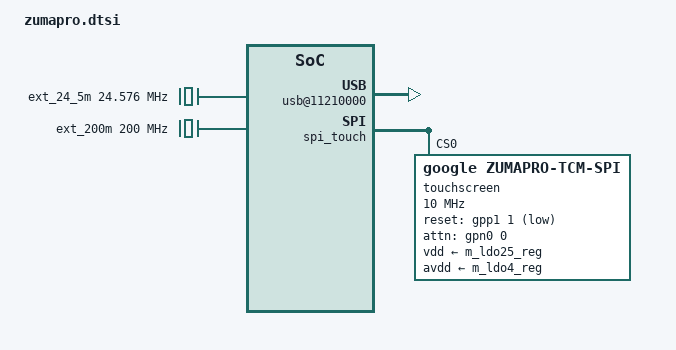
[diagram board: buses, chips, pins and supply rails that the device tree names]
// SPDX-License-Identifier: GPL-2.0-only
/*
 * Google Tensor G4 (zumapro) SoC — minimal mainline description.
 *
 * There is no upstream support for this SoC yet. Everything here was
 * derived from the downstream android-gs-tegu-6.1 base DTB
 * (zumapro-a1-foplp.dtb) and modelled on the upstream gs101.dtsi:
 *   - CPU MPIDRs / capacities, PSCI method
 *   - GIC-v3 and generic timer (24.576 MHz)
 *   - debug UART at 0x10870000 (the "uart0"/serial_0 the bootloader logs on)
 *   - firmware / bootloader carve-outs that must stay no-map
 *
 * Deliberately absent (no mainline driver, or unknown register map):
 * clock controllers, pinctrl, PMIC/ACPM, UFS, USB, DPU/DSIM, WLAN, modem.
 */

#include <dt-bindings/gpio/gpio.h>
#include <dt-bindings/interrupt-controller/arm-gic.h>
#include <dt-bindings/soc/samsung,exynos-usi.h>

/* Same directory, and this SoC's pin controller is gs101's. */
#include "gs101-pinctrl.h"

/ {
	compatible = "google,zumapro";
	#address-cells = <2>;
	#size-cells = <1>;

	interrupt-parent = <&gic>;

	/*
	 * Not decoration. pinctrl-samsung picks which bank table a controller
	 * gets with of_alias_get_id(node, "pinctrl") and nothing else -- not
	 * the compatible, not the reg -- so a controller without an alias
	 * fails probe at "failed to get alias id" and registers no GPIO at
	 * all. That is what left the touch SPI waiting forever on a supplier
	 * called gpn0-gpio-bank. The indices are positions in zuma_pin_ctrl[]:
	 * 1 is CUSTOM_ALIVE and 11 is PERIC0, matching zumapro-mainline.
	 */
	aliases {
		pinctrl1 = &pinctrl_gpio_custom_alive;
		pinctrl11 = &pinctrl_peric0;
	};

	cpus {
		#address-cells = <2>;
		#size-cells = <0>;

		/* One DSU cluster: 4x Cortex-A520, 3x Cortex-A720, 1x Cortex-X4 */
		cpu-map {
			cluster0 {
				core0 {
					cpu = <&cpu0>;
				};

				core1 {
					cpu = <&cpu1>;
				};

				core2 {
					cpu = <&cpu2>;
				};

				core3 {
					cpu = <&cpu3>;
				};

				core4 {
					cpu = <&cpu4>;
				};

				core5 {
					cpu = <&cpu5>;
				};

				core6 {
					cpu = <&cpu6>;
				};

				core7 {
					cpu = <&cpu7>;
				};
			};
		};

		cpu0: cpu@0 {
			device_type = "cpu";
			compatible = "arm,cortex-a520";
			reg = <0x0 0x0000>;
			enable-method = "psci";
			capacity-dmips-mhz = <193>;
		};

		cpu1: cpu@100 {
			device_type = "cpu";
			compatible = "arm,cortex-a520";
			reg = <0x0 0x0100>;
			enable-method = "psci";
			capacity-dmips-mhz = <193>;
		};

		cpu2: cpu@200 {
			device_type = "cpu";
			compatible = "arm,cortex-a520";
			reg = <0x0 0x0200>;
			enable-method = "psci";
			capacity-dmips-mhz = <193>;
		};

		cpu3: cpu@300 {
			device_type = "cpu";
			compatible = "arm,cortex-a520";
			reg = <0x0 0x0300>;
			enable-method = "psci";
			capacity-dmips-mhz = <193>;
		};

		cpu4: cpu@400 {
			device_type = "cpu";
			compatible = "arm,cortex-a720";
			reg = <0x0 0x0400>;
			enable-method = "psci";
			capacity-dmips-mhz = <927>;
		};

		cpu5: cpu@500 {
			device_type = "cpu";
			compatible = "arm,cortex-a720";
			reg = <0x0 0x0500>;
			enable-method = "psci";
			capacity-dmips-mhz = <927>;
		};

		cpu6: cpu@600 {
			device_type = "cpu";
			compatible = "arm,cortex-a720";
			reg = <0x0 0x0600>;
			enable-method = "psci";
			capacity-dmips-mhz = <927>;
		};

		cpu7: cpu@700 {
			device_type = "cpu";
			compatible = "arm,cortex-x4";
			reg = <0x0 0x0700>;
			enable-method = "psci";
			capacity-dmips-mhz = <1024>;
		};
	};

	/* ect node is required to be present by the bootloader (as on gs101) */
	ect {
	};

	ext_24_5m: clock-1 {
		compatible = "fixed-clock";
		#clock-cells = <0>;
		clock-frequency = <24576000>;
		clock-output-names = "oscclk";
	};

	/*
	 * Downstream feeds the debug UART from ext_200m for both its gate and
	 * IP clocks; the bootloader leaves that path running.
	 */
	ext_200m: clock-2 {
		compatible = "fixed-clock";
		#clock-cells = <0>;
		clock-frequency = <200000000>;
		clock-output-names = "ext-200m";
	};

	/*
	 * Stand-in for clocks the (driverless) zumapro clock controller owns.
	 * The bootloader leaves these running and clk_ignore_unused keeps them
	 * that way; drivers only need a plausible rate to derive timings from.
	 * 166.666 MHz is the usual UFS core clock on this Exynos generation.
	 */
	ufs_clk_stub: clock-3 {
		compatible = "fixed-clock";
		#clock-cells = <0>;
		clock-frequency = <166666666>;
		clock-output-names = "ufs-core-stub";
	};

	/*
	 * What CMU_TOP feeds HSI0_PERI with, read off the hardware rather than
	 * assumed:
	 *
	 *   PLL_CON3_PLL_SHARED2 (0x260401cc) = 0xa0820400: enabled, stable,
	 *   M = 130, P = 4, S = 0, so 24576000 * 130 / 4 = 798720000 and the
	 *   D2 tap halves it to 399360000. The round 400 MHz this node used to
	 *   claim was never measured.
	 *   CMU_TOP HSI0_PERI mux (0x26041098) = 1 -> PLL_SHARED2_D2, div = 0.
	 *   CMU_HSI0 PERI_USER (0x11000680) = 0x10 -> that feed, not OSCCLK.
	 *   CMU_HSI0 MUX_CLK_HSI0_USI2 (0x1100101c) = 0 -> PERI_USER.
	 *
	 * It is the parent of the USI2 divider in cmu_hsi0, not the SPI's bit
	 * clock: spi-s3c64xx sets that with clk_set_rate(), because gs101's
	 * port config sets clk_from_cmu and the controller has no prescaler.
	 */
	/*
	 * The APM mailbox's APB clock. Stated, not modelled: there is no
	 * CMU_APM driver in this port, the bootloader leaves the clock running
	 * (ACPM is what it talks to for DVFS and the PMIC), and the mailbox
	 * driver only enables it -- it does no arithmetic with the rate. The
	 * binding makes clocks/clock-names mandatory, so a phandle has to
	 * resolve to something.
	 */
	apm_pclk: clock-6 {
		compatible = "fixed-clock";
		#clock-cells = <0>;
		clock-frequency = <24576000>;
		clock-output-names = "apm-pclk";
	};

	hsi0_peri: clock-5 {
		compatible = "fixed-clock";
		#clock-cells = <0>;
		clock-frequency = <399360000>;
		clock-output-names = "hsi0-peri";
	};

	/*
	 * The APM's SRAM. ACPM's shared-memory mailbox queues live in here;
	 * the protocol driver ioremaps it and finds its channel descriptors at
	 * initdata-base (0xa000) from the start. Address and size are the
	 * second region of the stock tree's acpm_ipc reg property.
	 *
	 * Root here is #address-cells = <2>, #size-cells = <1>.
	 */
	apm_sram: sram@15700000 {
		compatible = "mmio-sram";
		reg = <0x0 0x15700000 0x58000>;
		#address-cells = <1>;
		#size-cells = <1>;
		ranges = <0x0 0x0 0x15700000 0x58000>;
	};

	pmu {
		compatible = "arm,armv8-pmuv3";
		interrupts = <GIC_PPI 7 IRQ_TYPE_LEVEL_HIGH 0>;
	};

	psci {
		compatible = "arm,psci-1.0";
		method = "smc";
	};

	reserved_memory: reserved-memory {
		#address-cells = <2>;
		#size-cells = <1>;
		ranges;

		/* Exynos Clock Table, filled in by the bootloader */
		ect_reserved: ect@90000000 {
			reg = <0x0 0x90000000 0x60000>;
			no-map;
		};

		gsa_reserved_protected: gsa@90200000 {
			reg = <0x0 0x90200000 0x3ff000>;
			no-map;
		};

		gsa_shmem_reserved: gsa-shmem@905ff000 {
			reg = <0x0 0x905ff000 0x1000>;
			no-map;
		};

		gxp_scratchpad_reserved: gxp-scratchpad@91300000 {
			reg = <0x0 0x91300000 0x60000>;
			no-map;
		};

		iif_wait_table_reserved: iif-wait-table@91360000 {
			reg = <0x0 0x91360000 0x20000>;
			no-map;
		};

		iif_signal_table_reserved: iif-signal-table@91380000 {
			reg = <0x0 0x91380000 0x20000>;
			no-map;
		};

		gxp_secure_data_reserved: gxp-secure-data@91400000 {
			reg = <0x0 0x91400000 0x900000>;
			no-map;
		};

		gxp_fw_data_reserved: gxp-fw-data@91d00000 {
			reg = <0x0 0x91d00000 0x300000>;
			no-map;
		};

		gxp_mcu_fw_reserved: gxp-mcu-fw@92000000 {
			reg = <0x0 0x92000000 0x400000>;
			no-map;
		};

		tpu_fw_reserved: tpu-fw@92e00000 {
			reg = <0x0 0x92e00000 0x1200000>;
			no-map;
		};

		aoc_reserve: aoc@94000000 {
			reg = <0x0 0x94000000 0x3000000>;
			no-map;
		};

		xhci_dma_reserved: xhci-dma@97000000 {
			reg = <0x0 0x97000000 0x400000>;
			no-map;
		};

		seclog_reserved: seclog@c3000000 {
			reg = <0x0 0xc3000000 0x80000>;
			no-map;
		};

		/* Debug-core log carve-outs (written by firmware) */
		log_header_reserved: log-header@d8100000 {
			reg = <0x0 0xd8100000 0x10000>;
			no-map;
		};

		log_kevents_reserved: log-kevents@d8110000 {
			reg = <0x0 0xd8110000 0x700000>;
			no-map;
		};

		log_s2d_reserved: log-s2d@d8810000 {
			reg = <0x0 0xd8810000 0x1800000>;
			no-map;
		};

		log_array_reset_reserved: log-array-reset@da010000 {
			reg = <0x0 0xda010000 0xa00000>;
			no-map;
		};

		log_array_panic_reserved: log-array-panic@daa10000 {
			reg = <0x0 0xdaa10000 0xa00000>;
			no-map;
		};

		log_slcdump_reserved: log-slcdump@db410000 {
			reg = <0x0 0xdb410000 0x1100000>;
			no-map;
		};

		log_preslcdump_reserved: log-preslcdump@dc510000 {
			reg = <0x0 0xdc510000 0x1100000>;
			no-map;
		};

		log_bcm_reserved: log-bcm@dd610000 {
			reg = <0x0 0xdd610000 0x400000>;
			no-map;
		};

		log_itmon_reserved: log-itmon@dda10000 {
			reg = <0x0 0xdda10000 0x10000>;
			no-map;
		};

		log_s2d_extract_reserved: log-s2d-extract@dda20000 {
			reg = <0x0 0xdda20000 0x600000>;
			no-map;
		};

		/* Modem (CP) shared memory */
		cp_reserved_1: cp@e8000000 {
			reg = <0x0 0xe8000000 0x2000000>;
			no-map;
		};

		cp_reserved: cp@ea400000 {
			reg = <0x0 0xea400000 0xc00000>;
			no-map;
		};

		cp_msi_reserved: cp-msi@f6200000 {
			reg = <0x0 0xf6200000 0x1000>;
			no-map;
		};

		dss_log_reserved: dss-log-reserved@fd3f0000 {
			reg = <0x0 0xfd3f0000 0xe000>;
			no-map;
		};

		debug_kinfo_reserved: debug-kinfo-reserved@fd3fe000 {
			reg = <0x0 0xfd3fe000 0x1000>;
			no-map;
		};

		/*
		 * Same ramoops window Android uses, so a crashed mainline boot
		 * leaves its console log where a stock boot can read it back
		 * from /sys/fs/pstore.
		 */
		ramoops@fd3ff000 {
			compatible = "ramoops";
			reg = <0x0 0xfd3ff000 0x400000>;
			record-size = <0x20000>;
			console-size = <0x200000>;
			pmsg-size = <0x200000>;
		};

		bldr_log_reserved: bldr-log-reserved@fd800000 {
			reg = <0x0 0xfd800000 0x100000>;
			no-map;
		};
	};

	soc: soc@0 {
		compatible = "simple-bus";
		#address-cells = <1>;
		#size-cells = <1>;
		ranges = <0x0 0x0 0x0 0x40000000>;

		gic: interrupt-controller@10400000 {
			compatible = "arm,gic-v3";
			#address-cells = <0>;
			#interrupt-cells = <4>;
			interrupt-controller;
			reg = <0x10400000 0x10000>,  /* GICD */
			      <0x10440000 0x200000>; /* GICR * 8 */
			interrupts = <GIC_PPI 9 IRQ_TYPE_LEVEL_HIGH 0>;
		};

		/*
		 * USB 3.2 DRD controller — under test.
		 *
		 * The hsi0 power domain is ON when Linux takes over. Measured
		 * 2026-09-09, both registers together:
		 *
		 *	CONFIGURATION (0x15462a80) = 0x00000001
		 *	STATUS        (0x15462a84) = 0x00000001
		 *
		 * STATUS is the one that decides, and bit 0 set means powered.
		 * Google's table gives both the base and the offset:
		 *
		 *   PMUCAL_SEQ_DESC(PMUCAL_READ, "HSI0_STATUS",
		 *                   0x15460000, 0x2a84, (0x1 << 0), ...)
		 *
		 * in cal-if/zuma/flexpmu_cal_local_zuma.h.
		 *
		 * This comment used to say the opposite -- that describing the
		 * controller bootloops the device, because the block sits
		 * unpowered in hsi0 and dwc3 probes onto dead registers. None
		 * of that survived being tested. It also named 0x15462a80,
		 * which is CONFIGURATION and not STATUS, so the check it asked
		 * for would have read a request rather than a state. The
		 * bootloop was real and observed; its cause was never
		 * established and is still unknown.
		 *
		 * What this actually needs, read off Google's own description
		 * rather than guessed (2026-09-09). Mainline 7.3-rc1 does
		 * carry Tensor USB -- google,gs101-dwusb3 in dwc3-exynos.c and
		 * google,gs101-usb31drd-phy in phy-exynos5-usbdrd.c -- but
		 * neither transfers to this SoC unchanged:
		 *
		 *   1. The PHY is a different animal. The stock node carries
		 *	phy_eusb_version = <0x701> and has_combo_phy = <0x01>:
		 *	an eUSB2 PHY behind a combo USB-DP block, with six
		 *	register ranges (0x11100000, 0x11110000, 0x11120000,
		 *	0x11130000, 0x11140000, 0x11210000) and three IRQs
		 *	(399, 397, 404). gs101's is a plain USB2+USB3 phy with
		 *	three ranges named phy/pcs/pma. zumapro's QCH list has
		 *	USB32DRD_QCH_EUSBCTL; gs101 has no such thing. The
		 *	bootloader's own "[E] failed to get eUSB revision -62"
		 *	is about this block.
		 *
		 *   2. CMU_HSI0 is not gs101's. Both sit at 0x11000000, but
		 *	gs101's CMU_HSI0 has no USI clocks at all while this
		 *	one carries USI0..USI4 -- which is why the touchscreen
		 *	SPI is clocked from HSI0 here. Offsets differ with it:
		 *	0x181c is HSI0's USI2 divider on zumapro and CMU_TOP's
		 *	CIS_CLK3 on gs101. mainline's clk-gs101.c cannot be
		 *	pointed at this block.
		 *
		 *   3. Ten clocks are needed, against the three
		 *	./kernel/clk-zumapro-hsi0.c provides (all for USI2).
		 *	The vendor node names three of them, and zuma.h
		 *	resolves them: aclk = GATE_USB32DRD_LINK (559),
		 *	sclk = MUX_HSI0_USB20_REF (551), bus =
		 *	VDOUT_CLK_TOP_HSI0_NOC (67, from CMU_TOP not HSI0).
		 *	Register offsets live in cal-if/zuma/cmucal-*.c.
		 *
		 * So this is a bring-up of the same shape as UFS, not a node
		 * that can simply be switched on. The power domain being live
		 * removes one obstacle; it does not make the rest small.
		 */

		/*
		 * A bare snps,dwc3 -- the controller's registers and its
		 * interrupt, with no phy and no glue. It cannot work, and
		 * working was never what it was for: it was the experiment
		 * that retested the bootloop claim above, and it has answered
		 * (2026-09-09):
		 *
		 *   1. There is no bootloop. The phone boots straight to a
		 *	graphical target with this node present. dwc3 maps the
		 *	block, writes DCTL.CSFTRST and polls it, so the
		 *	registers are alive -- "dwc3 probes onto dead
		 *	registers" was wrong, as was the power-domain reason
		 *	given for it.
		 *
		 *   2. It is not the clocks either, and that took proving.
		 *	Every gate the CMU has for USB was already open before
		 *	Linux touched it; the Q-channel enables were clear and
		 *	now are not; the user muxes were on the oscillator and
		 *	now take the CMU_TOP feed. All three read back changed
		 *	from userspace, and the core still will not reset:
		 *
		 *	  qch_link=0x3 qch_subctl=0x3 qch_eusbctl=0x3
		 *	  usermux32=0x10 usermux20=0x10010
		 *	  DWC3 controller soft reset failed, -ETIMEDOUT
		 *
		 * What is left is the PHY, and the reason is in dwc3 itself:
		 * dwc3_core_soft_reset() calls phy_init() on its generic PHYs
		 * before asserting CSFTRST. This node has no phys, so those
		 * are no-ops and the core never gets a PHY reference clock to
		 * run the reset with. The eUSB PHY is not a later step that
		 * can wait until the controller works -- the controller
		 * cannot initialise without it.
		 *
		 * Delete this node once the PHY exists to attach to it; it is
		 * an experiment, not a description of the hardware.
		 */
		usb@11210000 {
			compatible = "snps,dwc3";
			reg = <0x11210000 0x10000>;
			interrupts = <GIC_SPI 402 IRQ_TYPE_LEVEL_HIGH 0>;

			/*
			 * The link's own clocks. dwc3 takes whatever is listed
			 * here (devm_clk_bulk_get_all), and the gates are
			 * registered CLK_IS_CRITICAL besides, so they are on
			 * before this node is looked at either way.
			 *
			 * Indices 0 and 1 of this provider are the USI2 pair
			 * the touchscreen uses; the USB gates start at 2.
			 */
			clocks = <&cmu_hsi0 2>,	/* usb_link_aclk    */
				 <&cmu_hsi0 3>,	/* usb_subctl_pclk  */
				 <&cmu_hsi0 4>;	/* usb_ref_clk_40   */
			clock-names = "link_aclk", "subctl_pclk", "ref";
		};

		/*
		 * A gadget serial console is the prize here — it ends the
		 * cable-swapping between fastboot and the UART, which is the
		 * slowest part of every measurement on this phone.
		 *
		 * Addresses, for whoever picks this up:
		 *   usb@11210000  len 0x10000, GIC SPI 402
		 *   phy@11100000  samsung,exynos-usbdrd-phy, 6 ranges,
		 *                 IRQs 399/397/404, eUSB + combo USB-DP
		 */

		/*
		 * Power management unit. Referenced by the UFS PHY to lift
		 * PHY isolation; same register block as gs101.
		 */
		pmu_system_controller: system-controller@15460000 {
			compatible = "samsung,gs101-pmu", "syscon";
			reg = <0x15460000 0x10000>;
		};

		/*
		 * Minimal clock controller for the HSI2 block, which feeds UFS.
		 * Base address from Google's own CAL tables for this SoC:
		 * SFR_BLOCK(CMU_HSI2, 0x13000000, 0x8000). See
		 * ../kernel/clk-zumapro-hsi2.c for why gs101's driver cannot be
		 * reused here (the gate offsets differ by 0x3c).
		 *
		 * The bootloader tears this path down before handing over, so
		 * the driver re-enables the CMU_TOP gates and repoints the user
		 * muxes away from the oscillator. Dividers are left alone; the
		 * rate only has to be plausible, and is stated here.
		 */
		cmu_hsi2: clock-controller@13000000 {
			compatible = "google,zumapro-cmu-hsi2";
			/* CMU_HSI2, then CMU_TOP: the top-level gates that feed
			 * this block live in the latter. */
			reg = <0x13000000 0x8000>, <0x26040000 0x8000>;
			#clock-cells = <1>;
			clocks = <&ufs_clk_stub>;
		};

		/*
		 * Cluster watchdogs. BL2 arms cluster 0 at 60 seconds on every
		 * boot -- "WD: enabled(60s, 1/3)" in its log -- and until these
		 * nodes existed nothing petted it, so a fully working system was
		 * reset on a timer and ABL recorded CLUSTER0_NONCPU_WDTRESET.
		 *
		 * Addresses match gs101. The interrupts do not: the stock tree has
		 * 0x2ff and 0x300 here, two higher than gs101's 765 and 766.
		 *
		 * The compatible is this port's own, not "google,gs101-wdt",
		 * because gs101's driver data reaches into the PMU at offsets this
		 * port has not verified for zumapro. See kernel/add-zumapro-wdt.py.
		 *
		 * Clocks are the oscillator both times. Mainline uses "watchdog"
		 * for register access and "watchdog_src" for the count rate, and
		 * the count really is the 24.576 MHz oscillator; the bootloader
		 * leaves the register clock running, so a stub is honest here in
		 * the same way it is for UFS.
		 */
		watchdog_cl0: watchdog@10060000 {
			compatible = "google,zumapro-wdt";
			reg = <0x10060000 0x100>;
			clocks = <&ext_24_5m>, <&ext_24_5m>;
			clock-names = "watchdog", "watchdog_src";
			interrupts = <GIC_SPI 767 IRQ_TYPE_LEVEL_HIGH 0>;
			samsung,cluster-index = <0>;
			timeout-sec = <30>;
		};

		watchdog_cl1: watchdog@10070000 {
			compatible = "google,zumapro-wdt";
			reg = <0x10070000 0x100>;
			clocks = <&ext_24_5m>, <&ext_24_5m>;
			clock-names = "watchdog", "watchdog_src";
			interrupts = <GIC_SPI 768 IRQ_TYPE_LEVEL_HIGH 0>;
			samsung,cluster-index = <1>;
			timeout-sec = <30>;
		};

		/*
		 * The syscon holding SW_CONF for the USI block that carries
		 * the touchscreen's SPI. The stock tree reaches it by phandle
		 * and calls it sysreg_hsi0, which does not match where these
		 * peripherals live; what matters is measured, not the name.
		 * Writing USI_V2_SW_CONF_SPI to +0x101c from userspace took
		 * the SPI controller at 0x111d0000 out of reset on hardware --
		 * its CS_REG went 0 -> 1, S3C64XX_SPI_CS_SIG_INACT -- so this
		 * address is confirmed, not inferred.
		 */
		/*
		 * ACPM -- the Alive Clock and Power Manager. It is the only
		 * route to the PMIC, and therefore to the touchscreen's rails.
		 *
		 * Addresses from the stock device tree, whose acpm_ipc node
		 * carries all three regions in one property:
		 *
		 *   reg = <0x15110000 0x1000     mailbox
		 *          0x15700000 0x58000    SRAM
		 *          0x1542048c 0x14>;
		 *   interrupts = <0 0x50 4 0>;   GIC_SPI 80
		 *   initdata-base = <0xa000>;
		 *
		 * Mainline wants the mailbox and SRAM as separate nodes that
		 * acpm_ipc points at, so they are split out here. The third
		 * region is Google's own and mainline's driver never asks for
		 * it, so it is left out rather than described speculatively.
		 *
		 * The protocol node needs no zumapro variant: mainline's
		 * ACPM_GS101_INITDATA_BASE is 0xa000, exactly what the stock
		 * tree declares, so the shared-memory layout is the same and
		 * only the addresses differ.
		 */
		ap2apm_mailbox: mailbox@15110000 {
			compatible = "google,gs101-mbox";
			reg = <0x15110000 0x1000>;
			clocks = <&apm_pclk>;
			clock-names = "pclk";
			interrupts = <GIC_SPI 80 IRQ_TYPE_LEVEL_HIGH 0>;
			#mbox-cells = <0>;
		};

		acpm_ipc: power-management {
			compatible = "google,gs101-acpm-ipc";
			#clock-cells = <1>;
			mboxes = <&ap2apm_mailbox>;
			shmem = <&apm_sram>;

			/*
			 * Read-only dump of the main PMIC, kept as the
			 * instrument that established the register map the
			 * regulator node below now relies on.
			 */
			pmic_dump: pmic-dump {
				compatible = "google,zumapro-pmic-dump";
			};

			/*
			 * The touchscreen's two supplies on the main PMIC,
			 * now through mainline's sec-acpm MFD, which puts a
			 * regmap over ACPM so the ordinary regmap regulator
			 * ops drive them. The S2MPG14 register map it needs
			 * is added by kernel/sec-acpm-s2mpg14.py.
			 *
			 * Offsets confirmed against a live read: the hardware
			 * already holds 3300000 and 1800000 in these two
			 * registers with the enable bit clear, so min == max
			 * states what is there rather than asking for a
			 * change.
			 *
			 * The interrupt is here only because
			 * sec_pmic_acpm_probe() refuses to probe without one.
			 * sec_irq_init() installs no chip for this part -- the
			 * S2MPG14 has no common INT register to drive one --
			 * so nothing ever requests this line. The number comes
			 * from the zumapro-mainline tree and is unconfirmed on
			 * this phone; while no handler is attached it only has
			 * to parse.
			 */
			pmic_main: pmic-main {
				compatible = "samsung,s2mpg14-pmic";
				interrupt-parent = <&gic>;
				interrupts = <GIC_SPI 75 IRQ_TYPE_LEVEL_HIGH 0>;

				regulators {
					m_ldo4_reg: ldo4m {
						regulator-name = "PP3300_L4M_TS1_AVDD";
						regulator-min-microvolt = <3300000>;
						regulator-max-microvolt = <3300000>;
					};

					m_ldo25_reg: ldo25m {
						regulator-name = "PP1800_L25M_TS1_DVDD";
						regulator-min-microvolt = <1800000>;
						regulator-max-microvolt = <1800000>;
					};
				};
			};
		};

		/*
		 * The SoC's GPIO. Bank data lives in the kernel
		 * (kernel/zuma-pinctrl-data.c, from the zumapro-mainline
		 * tree); these nodes only say where the blocks are and give
		 * each bank a gpio-controller so phandles resolve.
		 *
		 * The pclk is deliberately absent. The binding takes it with
		 * devm_clk_get_optional_prepared(), and this port has no
		 * CMU_APM or CMU_PERIC0 driver yet -- the bootloader leaves
		 * both blocks clocked, which is why the touch reset and ATTN
		 * pins were readable by hand long before this existed.
		 */
		pinctrl_gpio_custom_alive: pinctrl@15060000 {
			compatible = "google,zuma-pinctrl";
			reg = <0x15060000 0x1000>;

			/*
			 * Without this child, exynos_eint_wkup_init() returns
			 * -ENODEV before creating any irq_domain. Probe still
			 * registers the gpiochips (the return is ignored), but
			 * gpn0 cannot be an interrupt parent. Compatible from
			 * the stock DTB; it is in mainline's wkup match table.
			 */
			wakeup-interrupt-controller {
				compatible = "samsung,exynos7-wakeup-eint";
			};

			/*
			 * The ATTN line, exactly as Google configures it in
			 * zuma-tegu-common-touch.dtsi (&pinctrl_1, ts-irq).
			 *
			 * This matters more than a pin-config usually does.
			 * The bootloader leaves gpn0-0 with a pull-down --
			 * PUD reads 0x1 for that pin, measured on this phone
			 * -- and ATTN is active low, so the line reads
			 * asserted whenever nothing drives it: rails off,
			 * reset held, or the part still booting. A driver
			 * that gates its reads on the level then reads a part
			 * that has said nothing. Google clears the pull, and
			 * with it cleared the level means what it says.
			 *
			 * Their drive-strength (ZUMA_PIN_DRV_X1) is not
			 * copied: this pin is an input, and this port has no
			 * verified zumapro drive-strength encoding.
			 */
			ts_irq_pins: ts-irq-pins {
				samsung,pins = "gpn0-0";
				samsung,pin-pud = <GS101_PIN_PULL_NONE>;
			};

			gpn0: gpn0-gpio-bank {
				gpio-controller;
				#gpio-cells = <2>;
				interrupt-controller;
				#interrupt-cells = <2>;
				interrupt-parent = <&gic>;
				interrupts = <GIC_SPI 0 IRQ_TYPE_LEVEL_HIGH 0>;
			};
			gpn1: gpn1-gpio-bank {
				gpio-controller;
				#gpio-cells = <2>;
				interrupt-controller;
				#interrupt-cells = <2>;
				interrupt-parent = <&gic>;
				interrupts = <GIC_SPI 1 IRQ_TYPE_LEVEL_HIGH 0>;
			};
			gpn2: gpn2-gpio-bank {
				gpio-controller;
				#gpio-cells = <2>;
				interrupt-controller;
				#interrupt-cells = <2>;
				interrupt-parent = <&gic>;
				interrupts = <GIC_SPI 2 IRQ_TYPE_LEVEL_HIGH 0>;
			};
			gpn3: gpn3-gpio-bank {
				gpio-controller;
				#gpio-cells = <2>;
				interrupt-controller;
				#interrupt-cells = <2>;
				interrupt-parent = <&gic>;
				interrupts = <GIC_SPI 3 IRQ_TYPE_LEVEL_HIGH 0>;
			};
			gpn4: gpn4-gpio-bank {
				gpio-controller;
				#gpio-cells = <2>;
				interrupt-controller;
				#interrupt-cells = <2>;
				interrupt-parent = <&gic>;
				interrupts = <GIC_SPI 4 IRQ_TYPE_LEVEL_HIGH 0>;
			};
			gpn5: gpn5-gpio-bank {
				gpio-controller;
				#gpio-cells = <2>;
				interrupt-controller;
				#interrupt-cells = <2>;
				interrupt-parent = <&gic>;
				interrupts = <GIC_SPI 5 IRQ_TYPE_LEVEL_HIGH 0>;
			};
			gpn6: gpn6-gpio-bank {
				gpio-controller;
				#gpio-cells = <2>;
				interrupt-controller;
				#interrupt-cells = <2>;
				interrupt-parent = <&gic>;
				interrupts = <GIC_SPI 6 IRQ_TYPE_LEVEL_HIGH 0>;
			};
			gpn7: gpn7-gpio-bank {
				gpio-controller;
				#gpio-cells = <2>;
				interrupt-controller;
				#interrupt-cells = <2>;
				interrupt-parent = <&gic>;
				interrupts = <GIC_SPI 7 IRQ_TYPE_LEVEL_HIGH 0>;
			};
			gpn8: gpn8-gpio-bank {
				gpio-controller;
				#gpio-cells = <2>;
				interrupt-controller;
				#interrupt-cells = <2>;
				interrupt-parent = <&gic>;
				interrupts = <GIC_SPI 8 IRQ_TYPE_LEVEL_HIGH 0>;
			};
			gpn9: gpn9-gpio-bank {
				gpio-controller;
				#gpio-cells = <2>;
				interrupt-controller;
				#interrupt-cells = <2>;
				interrupt-parent = <&gic>;
				interrupts = <GIC_SPI 9 IRQ_TYPE_LEVEL_HIGH 0>;
			};
		};

		pinctrl_peric0: pinctrl@10840000 {
			compatible = "google,zuma-pinctrl";
			reg = <0x10840000 0x1000>;
			interrupts = <GIC_SPI 634 IRQ_TYPE_LEVEL_HIGH 0>;

			gpp0: gpp0-gpio-bank {
				gpio-controller;
				#gpio-cells = <2>;
				interrupt-controller;
				#interrupt-cells = <2>;
			};
			/*
			 * Touch reset, from the same file (&pinctrl_11,
			 * ts-reset). Google also pins the power-down state
			 * (con-pdn PREV, pud-pdn NONE) so the part is not
			 * reset by a suspend; that is left out until this
			 * port suspends at all and can test it.
			 */
			ts_reset_pins: ts-reset-pins {
				samsung,pins = "gpp1-1";
				samsung,pin-pud = <GS101_PIN_PULL_NONE>;
			};

			gpp1: gpp1-gpio-bank {
				gpio-controller;
				#gpio-cells = <2>;
				interrupt-controller;
				#interrupt-cells = <2>;
			};
			gpp2: gpp2-gpio-bank {
				gpio-controller;
				#gpio-cells = <2>;
				interrupt-controller;
				#interrupt-cells = <2>;
			};
			gpp3: gpp3-gpio-bank {
				gpio-controller;
				#gpio-cells = <2>;
				interrupt-controller;
				#interrupt-cells = <2>;
			};
			gpp4: gpp4-gpio-bank {
				gpio-controller;
				#gpio-cells = <2>;
				interrupt-controller;
				#interrupt-cells = <2>;
			};
			gpp5: gpp5-gpio-bank {
				gpio-controller;
				#gpio-cells = <2>;
				interrupt-controller;
				#interrupt-cells = <2>;
			};
			gpp6: gpp6-gpio-bank {
				gpio-controller;
				#gpio-cells = <2>;
				interrupt-controller;
				#interrupt-cells = <2>;
			};
			gpp7: gpp7-gpio-bank {
				gpio-controller;
				#gpio-cells = <2>;
				interrupt-controller;
				#interrupt-cells = <2>;
			};
			gpp8: gpp8-gpio-bank {
				gpio-controller;
				#gpio-cells = <2>;
				interrupt-controller;
				#interrupt-cells = <2>;
			};
			gpp9: gpp9-gpio-bank {
				gpio-controller;
				#gpio-cells = <2>;
				interrupt-controller;
				#interrupt-cells = <2>;
			};
			gpp10: gpp10-gpio-bank {
				gpio-controller;
				#gpio-cells = <2>;
				interrupt-controller;
				#interrupt-cells = <2>;
			};
			gpp11: gpp11-gpio-bank {
				gpio-controller;
				#gpio-cells = <2>;
				interrupt-controller;
				#interrupt-cells = <2>;
			};
			gpp12: gpp12-gpio-bank {
				gpio-controller;
				#gpio-cells = <2>;
				interrupt-controller;
				#interrupt-cells = <2>;
			};
			gpp13: gpp13-gpio-bank {
				gpio-controller;
				#gpio-cells = <2>;
				interrupt-controller;
				#interrupt-cells = <2>;
			};
			gpp14: gpp14-gpio-bank {
				gpio-controller;
				#gpio-cells = <2>;
				interrupt-controller;
				#interrupt-cells = <2>;
			};
			gpp15: gpp15-gpio-bank {
				gpio-controller;
				#gpio-cells = <2>;
				interrupt-controller;
				#interrupt-cells = <2>;
			};
			gpp17: gpp17-gpio-bank {
				gpio-controller;
				#gpio-cells = <2>;
				interrupt-controller;
				#interrupt-cells = <2>;
			};
			gpp16: gpp16-gpio-bank {
				gpio-controller;
				#gpio-cells = <2>;
				interrupt-controller;
				#interrupt-cells = <2>;
			};
		};

		cmu_hsi0: clock-controller@11000000 {
			compatible = "google,zumapro-cmu-hsi0";
			/*
			 * CMU_HSI0, then the single CMU_TOP register that
			 * divides HSI0_PERI on the way in
			 * (CLK_CON_DIV_CLKCMU_HSI0_PERI, 0x1890 in CMU_TOP),
			 * then the two CMU_TOP gates.
			 *
			 * Eight bytes each, not a range: this port has already
			 * taken a fatal SError from sweeping an address window
			 * that a reg property said was there. Both pairs are
			 * adjacent registers -- 0x1890/0x1894 are HSI0_PERI's
			 * divider and USB32DRD's, 0x20c0/0x20c4 their gates --
			 * and the boot probe has read 0x26041890 and
			 * 0x260420c0 on hardware without incident.
			 */
			reg = <0x11000000 0x8000>,
			      <0x26041890 0x8>,
			      <0x260420c0 0x8>;
			clocks = <&hsi0_peri>;
			#clock-cells = <1>;
		};

		/*
		 * Named for what the stock tree calls it. Only +0x101c, this
		 * USI's mode select, is known to be backed: a blind read of
		 * +0x0014 upwards faulted, and +0x1000 raised a fatal SError.
		 * Do not scan this region.
		 */
		sysreg_hsi0: syscon@11020000 {
			compatible = "google,zumapro-sysreg", "syscon";
			reg = <0x11020000 0x10000>;
		};

		/*
		 * Touchscreen SPI. The stock tree has both hsi2c@111D0000 and
		 * spi@111D0000 sharing SW_CONF offset 0x101c, because they are
		 * the same USI in two different modes; touch uses SPI.
		 *
		 * The USI register block sits at the peripheral base + 0xc0,
		 * as it does on gs101.
		 */
		usi_touch: usi@111d00c0 {
			compatible = "google,gs101-usi", "samsung,exynos850-usi";
			reg = <0x111d00c0 0x20>;
			ranges;
			#address-cells = <1>;
			#size-cells = <1>;
			clocks = <&cmu_hsi0 0>, <&cmu_hsi0 1>;
			clock-names = "pclk", "ipclk";
			samsung,sysreg = <&sysreg_hsi0 0x101c>;
			samsung,mode = <USI_V2_SPI>;

			spi_touch: spi@111d0000 {
				compatible = "google,gs101-spi";
				reg = <0x111d0000 0x30>;
				#address-cells = <1>;
				#size-cells = <0>;
				clocks = <&cmu_hsi0 0>, <&cmu_hsi0 1>;
				clock-names = "spi", "spi_busclk0";
				interrupts = <GIC_SPI 408 IRQ_TYPE_LEVEL_HIGH 0>;
				/*
				 * No pinctrl: the SPI pads of this USI group
				 * are fixed-function. Google's tree calls them
				 * GPB10[4..7], a datasheet pad name with no
				 * Linux bank behind it, and none of the five
				 * USIs sharing sysreg 0x11020000 declare
				 * pinctrl at all -- yet touch works on Android.
				 *
				 * The bus itself is proven: in internal
				 * loopback the controller echoes a5 5a 0f f0
				 * byte for byte at 9.98 MHz.
				 */
				touchscreen@0 {
					compatible = "google,zumapro-tcm-spi";
					reg = <0>;
					spi-max-frequency = <10000000>;

					/*
					 * Google's controller-data for this
					 * part sets cs-clock-delay = <2>,
					 * which their driver applies as a 2 us
					 * wait between asserting chip select
					 * and the first clock -- but only in
					 * manual chip-select mode, which is
					 * what samsung,spi-chip-select-mode =
					 * <0> selects. Mainline has no such
					 * property, so the delay is expressed
					 * the standard way instead.
					 */
					spi-cs-setup-delay-ns = <2000>;

					/*
					 * Real GPIOs now that there is a
					 * pinctrl driver. Both of these were
					 * poked through ioremap until now,
					 * which could drive a pad but never
					 * supply an interrupt.
					 */
					/*
					 * Applied by the driver core before
					 * probe runs, so ATTN has no pull by
					 * the time the driver first reads it.
					 */
					pinctrl-names = "default";
					pinctrl-0 = <&ts_irq_pins &ts_reset_pins>;

					reset-gpios = <&gpp1 1 GPIO_ACTIVE_LOW>;
					/*
					 * Active HIGH, measured, against both this
					 * port's previous assumption and Google's
					 * synaptics,irq-on-state = <0>. Eight reads
					 * correlated the level with what came back:
					 *
					 *   [1 pre=1 MSG post=0] [2 pre=0 pad post=0]
					 *   ... [8 pre=0 pad post=0]
					 *
					 * high means a message is waiting, reading it
					 * drives the line low, and low yields nothing
					 * but 0x5a padding. Every earlier measurement
					 * fits this and none fits active low: the line
					 * is low while unpowered, goes high when the
					 * rails come up and the part queues its
					 * identify, and idles high after a bare reset
					 * pulse that nothing ever reads.
					 */
					attn-gpios = <&gpn0 0 GPIO_ACTIVE_HIGH>;
					/*
					 * No interrupts-extended. The driver polls
					 * ATTN through attn-gpios and never requests
					 * the line. gpn0 now has an irq_domain (the
					 * wakeup-eint child on pinctrl@15060000),
					 * but the line is level-low and stays
					 * asserted until the message is drained, so
					 * a handler that fails to drain will storm.
					 * Name the interrupt once the read path is
					 * proven; spi_probe() would resolve it today.
					 */

					/*
					 * Synaptics TouchComm. The driver
					 * enables these itself and waits
					 * Google's 200 ms power-delay-ms
					 * before speaking, so they are not
					 * marked always-on: if it fails to
					 * probe the rails stay off, which is
					 * the safer failure.
					 */
					vdd-supply = <&m_ldo25_reg>;
					avdd-supply = <&m_ldo4_reg>;
				};
			};
		};

		sysreg_ufs: syscon@13020000 {
			compatible = "google,zuma-sysreg-ufs", "syscon";
			reg = <0x13020000 0x1000>;
		};

		/*
		 * UFS storage, described as gs101's. Tensor G4's controller is
		 * the same generation: the PHY sits at the same +0x4000 offset
		 * from the host controller, and the sysreg IOCC field is at the
		 * same 0x710, both of which match the downstream description.
		 *
		 * Unlike USB, this block has no power-domains property
		 * downstream, i.e. it is not in a switchable domain, so probing
		 * it does not risk the dead-register hang that USB caused.
		 */
		ufs_0_phy: phy@13204000 {
			compatible = "google,zumapro-ufs-phy";
			reg = <0x13204000 0x3000>;
			reg-names = "phy-pma";
			samsung,pmu-syscon = <&pmu_system_controller>;
			#phy-cells = <0>;
			clocks = <&ext_24_5m>;
			clock-names = "ref_clk";
		};

		ufs_0: ufs@13200000 {
			/*
			 * Enabled. It no longer panics; whether the link comes
			 * up is what the current build is testing.
			 *
			 * Three things had to be true before calibration could
			 * even be attempted, and each was established on
			 * hardware rather than assumed:
			 *   - the HSI2 gates must be on (clk-zumapro-hsi2.c);
			 *     a register dump from userspace confirms they are;
			 *   - calibration-done must be polled where this SoC
			 *     reports it (TRSV 0x31d bit 0, not gs101's 0x338
			 *     bit 3);
			 *   - the analogue PHY table must be this SoC's, not
			 *     Tensor G1's. That was the last one, and the only
			 *     one that had been silently wrong all along.
			 */
			/*
			 * The PHY isolation offset is why this used to panic:
			 * mainline's gs101 data writes PMU 0x3ec8, but on
			 * zumapro the control is at 0x3ec0, so the PHY stayed
			 * isolated and the first access raised an SError.
			 * kernel/apply.sh adds a "google,zumapro-ufs-phy"
			 * variant carrying the correct offset.
			 */
			compatible = "google,gs101-ufs";
			reg = <0x13200000 0x200>,
			      <0x13201100 0x200>,
			      <0x13280000 0x8000>,
			      <0x132a0000 0x100>;
			reg-names = "hci", "vs_hci", "unipro", "ufsp";
			interrupts = <GIC_SPI 466 IRQ_TYPE_LEVEL_HIGH 0>;
			/* Order matches clk-zumapro-hsi2.c's gate table. */
			clocks = <&cmu_hsi2 0>, <&cmu_hsi2 1>,
				 <&cmu_hsi2 2>, <&cmu_hsi2 3>,
				 <&cmu_hsi2 4>, <&cmu_hsi2 5>;
			clock-names = "core_clk", "sclk_unipro_main", "fmp",
				      "aclk", "pclk", "sysreg";
			dma-coherent;
			freq-table-hz = <0 0>, <0 0>, <0 0>,
					<0 0>, <0 0>, <0 0>;
			phys = <&ufs_0_phy>;
			phy-names = "ufs-phy";
			samsung,sysreg = <&sysreg_ufs 0x710>;
		};

		/*
		 * Debug UART. Downstream: samsung,exynos-uart, usi-serial-v2,
		 * 256-byte FIFO, 32-bit accesses, SPI 641. Register-compatible
		 * with the gs101 debug UART as far as the samsung_tty driver is
		 * concerned, so reuse that binding.
		 */
		serial_0: serial@10870000 {
			compatible = "google,gs101-uart";
			reg = <0x10870000 0x100>;
			interrupts = <GIC_SPI 641 IRQ_TYPE_LEVEL_HIGH 0>;
			clocks = <&ext_200m>, <&ext_200m>;
			clock-names = "uart", "clk_uart_baud0";
			reg-io-width = <4>;
			samsung,uart-fifosize = <256>;

			status = "disabled";
		};
	};

	timer {
		compatible = "arm,armv8-timer";
		interrupts =
		   <GIC_PPI 13 (GIC_CPU_MASK_SIMPLE(8) | IRQ_TYPE_LEVEL_LOW) 0>,
		   <GIC_PPI 14 (GIC_CPU_MASK_SIMPLE(8) | IRQ_TYPE_LEVEL_LOW) 0>,
		   <GIC_PPI 11 (GIC_CPU_MASK_SIMPLE(8) | IRQ_TYPE_LEVEL_LOW) 0>,
		   <GIC_PPI 10 (GIC_CPU_MASK_SIMPLE(8) | IRQ_TYPE_LEVEL_LOW) 0>,
		   <GIC_PPI 12 (GIC_CPU_MASK_SIMPLE(8) | IRQ_TYPE_LEVEL_LOW) 0>;
	};
};
